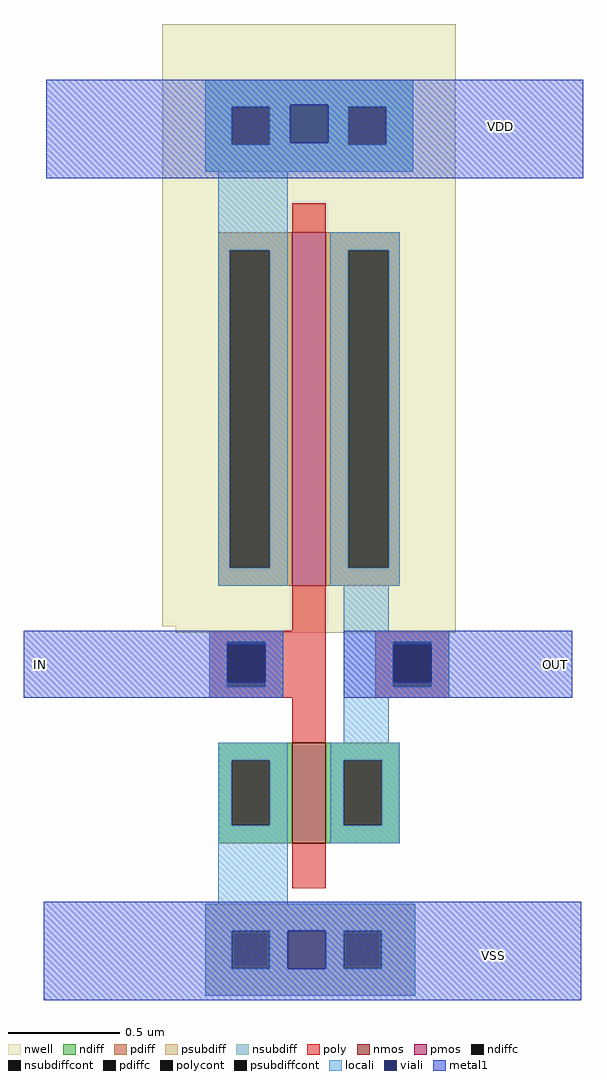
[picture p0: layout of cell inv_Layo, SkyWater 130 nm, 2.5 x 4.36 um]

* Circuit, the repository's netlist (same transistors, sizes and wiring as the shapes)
* NGSPICE file created from Cinv.ext - technology: sky130A

.subckt Layo OUT IN VDD VSS
X0 OUT IN VDD VDD sky130_fd_pr__pfet_01v8 ad=0.5214 pd=3.82 as=0.5214 ps=3.82 w=1.58 l=0.15
X1 OUT IN VSS VSS sky130_fd_pr__nfet_01v8 ad=0.1485 pd=1.56 as=0.1485 ps=1.56 w=0.45 l=0.15
.ends

.end

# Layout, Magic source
magic
tech sky130A
<< nwell >>
rect -23 67 108 336
rect -17 64 108 67
<< nmos >>
rect 35 -30 50 15
<< pmos >>
rect 35 85 50 243
<< ndiff >>
rect 2 7 35 15
rect 2 -22 8 7
rect 25 -22 35 7
rect 2 -30 35 -22
rect 50 7 83 15
rect 50 -22 58 7
rect 75 -22 83 7
rect 50 -30 83 -22
<< pdiff >>
rect 2 235 35 243
rect 2 93 7 235
rect 25 93 35 235
rect 2 85 35 93
rect 50 235 83 243
rect 50 93 60 235
rect 78 93 83 235
rect 50 85 83 93
<< ndiffc >>
rect 8 -22 25 7
rect 58 -22 75 7
<< pdiffc >>
rect 7 93 25 235
rect 60 93 78 235
<< psubdiff >>
rect -4 -69 90 -57
rect -4 -86 8 -69
rect 25 -86 58 -69
rect 75 -86 90 -69
rect -4 -98 90 -86
<< nsubdiff >>
rect -4 299 89 311
rect -4 282 8 299
rect 25 282 60 299
rect 77 282 89 299
rect -4 270 89 282
<< psubdiffcont >>
rect 8 -86 25 -69
rect 58 -86 75 -69
<< nsubdiffcont >>
rect 8 282 25 299
rect 60 282 77 299
<< poly >>
rect 35 243 50 256
rect 35 65 50 85
rect -2 60 50 65
rect -2 40 6 60
rect 23 40 50 60
rect -2 35 50 40
rect 72 60 105 65
rect 72 40 80 60
rect 97 40 105 60
rect 72 35 105 40
rect 35 15 50 35
rect 35 -50 50 -30
<< polycont >>
rect 6 40 23 60
rect 80 40 97 60
<< locali >>
rect -4 300 89 311
rect -4 299 34 300
rect -4 282 8 299
rect 25 283 34 299
rect 51 299 89 300
rect 51 283 60 299
rect 25 282 60 283
rect 77 282 89 299
rect -4 270 89 282
rect 2 235 33 270
rect 2 93 7 235
rect 25 93 33 235
rect 2 85 33 93
rect 52 235 83 243
rect 52 93 60 235
rect 78 93 83 235
rect 52 85 83 93
rect 58 65 78 85
rect -2 60 31 65
rect -2 40 6 60
rect 23 40 31 60
rect -2 35 31 40
rect 58 60 105 65
rect 58 40 80 60
rect 97 40 105 60
rect 58 35 105 40
rect 58 15 78 35
rect 2 7 33 15
rect 2 -22 8 7
rect 25 -22 33 7
rect 2 -57 33 -22
rect 52 7 83 15
rect 52 -22 58 7
rect 75 -22 83 7
rect 52 -30 83 -22
rect -4 -69 90 -57
rect -4 -86 8 -69
rect 25 -86 33 -69
rect 50 -86 58 -69
rect 75 -86 90 -69
rect -4 -98 90 -86
<< viali >>
rect 34 283 51 300
rect 6 42 23 59
rect 80 42 97 59
rect 33 -86 50 -69
<< metal1 >>
rect -75 300 165 311
rect -75 283 34 300
rect 51 283 165 300
rect -75 267 165 283
rect -85 59 31 65
rect -85 42 6 59
rect 23 42 31 59
rect -85 35 31 42
rect 58 59 160 65
rect 58 42 80 59
rect 97 42 160 59
rect 58 35 160 42
rect -76 -69 164 -56
rect -76 -86 33 -69
rect 50 -86 164 -69
rect -76 -100 164 -86
<< labels >>
rlabel metal1 128 290 128 290 1 VDD
rlabel metal1 125 -80 125 -80 1 VSS
rlabel metal1 150 45 155 55 1 OUT
rlabel metal1 -80 45 -75 55 1 IN
<< end >>
